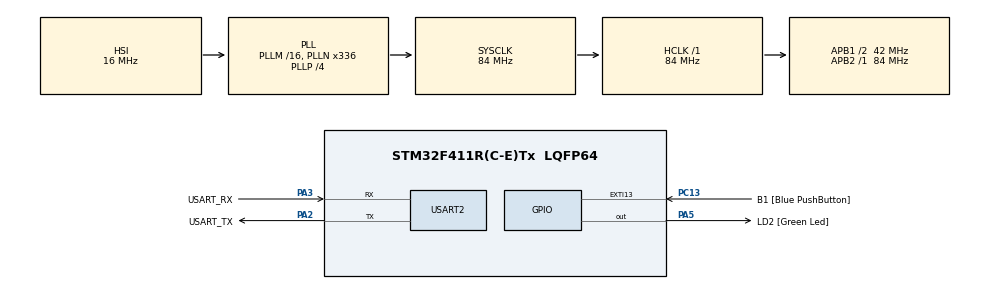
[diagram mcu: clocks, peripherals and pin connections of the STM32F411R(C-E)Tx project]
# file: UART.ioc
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Dma.Request0=USART2_RX
Dma.Request1=USART2_TX
Dma.USART2_RX.0.Direction=DMA_PERIPH_TO_MEMORY
Dma.USART2_RX.0.FIFOMode=DMA_FIFOMODE_DISABLE
Dma.USART2_RX.0.Instance=DMA1_Stream5
Dma.USART2_RX.0.MemDataAlignment=DMA_MDATAALIGN_BYTE
Dma.USART2_RX.0.MemInc=DMA_MINC_ENABLE
Dma.USART2_RX.0.Mode=DMA_CIRCULAR
Dma.USART2_RX.0.PeriphDataAlignment=DMA_PDATAALIGN_BYTE
Dma.USART2_RX.0.PeriphInc=DMA_PINC_DISABLE
Dma.USART2_RX.0.Priority=DMA_PRIORITY_LOW
Dma.USART2_TX.1.Direction=DMA_MEMORY_TO_PERIPH
Dma.USART2_TX.1.FIFOMode=DMA_FIFOMODE_DISABLE
Dma.USART2_TX.1.Instance=DMA1_Stream6
Dma.USART2_TX.1.MemDataAlignment=DMA_MDATAALIGN_BYTE
Dma.USART2_TX.1.MemInc=DMA_MINC_ENABLE
Dma.USART2_TX.1.Mode=DMA_NORMAL
Dma.USART2_TX.1.PeriphDataAlignment=DMA_PDATAALIGN_BYTE
Dma.USART2_TX.1.PeriphInc=DMA_PINC_DISABLE
Dma.USART2_TX.1.Priority=DMA_PRIORITY_LOW
Mcu.Family=STM32F4
Mcu.Name=STM32F411R(C-E)Tx
Mcu.Package=LQFP64
NVIC.DMA1_Stream5_IRQn=true\:0\:0\:false\:false\:true\:false\:true\:true
NVIC.DMA1_Stream6_IRQn=true\:0\:0\:false\:false\:true\:false\:true\:true
NVIC.PriorityGroup=NVIC_PRIORITYGROUP_0
NVIC.USART2_IRQn=true\:0\:0\:false\:false\:true\:true\:true\:true
PA13.GPIO_Label=TMS
PA13.Mode=Serial_Wire
PA13.Signal=SYS_JTMS-SWDIO
PA14.GPIO_Label=TCK
PA14.Mode=Serial_Wire
PA14.Signal=SYS_JTCK-SWCLK
PA2.GPIO_Label=USART_TX
PA2.Mode=Asynchronous
PA2.Signal=USART2_TX
PA3.GPIO_Label=USART_RX
PA3.Mode=Asynchronous
PA3.Signal=USART2_RX
PA5.GPIO_Label=LD2 [Green Led]
PA5.Signal=GPIO_Output
PB3.GPIO_Label=SWO
PB3.Signal=SYS_JTDO-SWO
PC13-ANTI_TAMP.GPIO_Label=B1 [Blue PushButton]
PC13-ANTI_TAMP.GPIO_ModeDefaultEXTI=GPIO_MODE_IT_FALLING
PC13-ANTI_TAMP.Signal=GPXTI13
PC14-OSC32_IN.Mode=LSE-External-Oscillator
PC14-OSC32_IN.Signal=RCC_OSC32_IN
PC15-OSC32_OUT.Mode=LSE-External-Oscillator
PC15-OSC32_OUT.Signal=RCC_OSC32_OUT
PH0\ -\ OSC_IN.Mode=HSE-External-Clock-Source
PH0\ -\ OSC_IN.Signal=RCC_OSC_IN
PH1\ -\ OSC_OUT.Mode=HSE-External-Clock-Source
PH1\ -\ OSC_OUT.Signal=RCC_OSC_OUT
ProjectManager.HeapSize=0x200
ProjectManager.StackSize=0x400
ProjectManager.TargetToolchain=STM32CubeIDE
RCC.48MHZClocksFreq_Value=84000000
RCC.AHBFreq_Value=84000000
RCC.APB1CLKDivider=RCC_HCLK_DIV2
RCC.APB1Freq_Value=42000000
RCC.APB1TimFreq_Value=84000000
RCC.APB2Freq_Value=84000000
RCC.APB2TimFreq_Value=84000000
RCC.CortexFreq_Value=84000000
RCC.FLatency-AdvancedSettings=FLASH_LATENCY_2
RCC.HCLKFreq_Value=84000000
RCC.HSE_VALUE=8000000
RCC.HSI_VALUE=16000000
RCC.PLLN=336
RCC.PLLP=RCC_PLLP_DIV4
RCC.SYSCLKFreq_VALUE=84000000
RCC.SYSCLKSource=RCC_SYSCLKSOURCE_PLLCLK
RCC.VCOOutputFreq_Value=336000000
USART2.VirtualMode=VM_ASYNC
board=NUCLEO-F411RE

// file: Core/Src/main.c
/* USER CODE BEGIN Header */
/**
  ******************************************************************************
  * @file           : main.c
  * @brief          : Main program body
  ******************************************************************************
  * @attention
  *
  * Copyright (c) 2023 STMicroelectronics.
  * All rights reserved.
  *
  * This software is licensed under terms that can be found in the LICENSE file
  * in the root directory of this software component.
  * If no LICENSE file comes with this software, it is provided AS-IS.
  *
  ******************************************************************************
  */
/* USER CODE END Header */
#include "main.h"

/* USER CODE BEGIN Includes */
#include "stdio.h"
#include "string.h"
/* USER CODE END Includes */

UART_HandleTypeDef huart2;
DMA_HandleTypeDef hdma_usart2_rx;
DMA_HandleTypeDef hdma_usart2_tx;

/* USER CODE BEGIN PV */
uint8_t RxBuffer[20];
uint8_t TxBuffer[40];
/* USER CODE END PV */

void SystemClock_Config(void);
static void MX_GPIO_Init(void);
static void MX_DMA_Init(void);
static void MX_USART2_UART_Init(void);
/* USER CODE BEGIN PFP */
//void UARTPollingMethod();
void DummyTask();
//void UARTInterruptConfig();
void UARTDMAConfig();
/* USER CODE END PFP */

int main(void)
{

  /* MCU Configuration--------------------------------------------------------*/

  /* Reset of all peripherals, Initializes the Flash interface and the Systick. */
  HAL_Init();

  /* Configure the system clock */
  SystemClock_Config();

  /* Initialize all configured peripherals */
  MX_GPIO_Init();
  MX_DMA_Init();
  MX_USART2_UART_Init();
  /* USER CODE BEGIN 2 */
uint8_t text[] = "HELLO FIBO";
HAL_UART_Transmit(&huart2, text,11, 10); //polling
UARTDMAConfig();
//UARTInterruptConfig();
  /* USER CODE END 2 */

  /* Infinite loop */
  /* USER CODE BEGIN WHILE */
  while (1)
  {
//	  UARTPollingMethod();
	  DummyTask();
    /* USER CODE END WHILE */

  }
}

void SystemClock_Config(void)
{
  RCC_OscInitTypeDef RCC_OscInitStruct = {0};
  RCC_ClkInitTypeDef RCC_ClkInitStruct = {0};

  /** Configure the main internal regulator output voltage
  */
  __HAL_RCC_PWR_CLK_ENABLE();
  __HAL_PWR_VOLTAGESCALING_CONFIG(PWR_REGULATOR_VOLTAGE_SCALE1);

  /** Initializes the RCC Oscillators according to the specified parameters
  * in the RCC_OscInitTypeDef structure.
  */
  RCC_OscInitStruct.OscillatorType = RCC_OSCILLATORTYPE_HSI;
  RCC_OscInitStruct.HSIState = RCC_HSI_ON;
  RCC_OscInitStruct.HSICalibrationValue = RCC_HSICALIBRATION_DEFAULT;
  RCC_OscInitStruct.PLL.PLLState = RCC_PLL_ON;
  RCC_OscInitStruct.PLL.PLLSource = RCC_PLLSOURCE_HSI;
  RCC_OscInitStruct.PLL.PLLM = 16;
  RCC_OscInitStruct.PLL.PLLN = 336;
  RCC_OscInitStruct.PLL.PLLP = RCC_PLLP_DIV4;
  RCC_OscInitStruct.PLL.PLLQ = 4;
  if (HAL_RCC_OscConfig(&RCC_OscInitStruct) != HAL_OK)
  {
    Error_Handler();
  }

  /** Initializes the CPU, AHB and APB buses clocks
  */
  RCC_ClkInitStruct.ClockType = RCC_CLOCKTYPE_HCLK|RCC_CLOCKTYPE_SYSCLK
                              |RCC_CLOCKTYPE_PCLK1|RCC_CLOCKTYPE_PCLK2;
  RCC_ClkInitStruct.SYSCLKSource = RCC_SYSCLKSOURCE_PLLCLK;
  RCC_ClkInitStruct.AHBCLKDivider = RCC_SYSCLK_DIV1;
  RCC_ClkInitStruct.APB1CLKDivider = RCC_HCLK_DIV2;
  RCC_ClkInitStruct.APB2CLKDivider = RCC_HCLK_DIV1;

  if (HAL_RCC_ClockConfig(&RCC_ClkInitStruct, FLASH_LATENCY_2) != HAL_OK)
  {
    Error_Handler();
  }
}

static void MX_USART2_UART_Init(void)
{

  huart2.Instance = USART2;
  huart2.Init.BaudRate = 115200;
  huart2.Init.WordLength = UART_WORDLENGTH_8B;
  huart2.Init.StopBits = UART_STOPBITS_1;
  huart2.Init.Parity = UART_PARITY_NONE;
  huart2.Init.Mode = UART_MODE_TX_RX;
  huart2.Init.HwFlowCtl = UART_HWCONTROL_NONE;
  huart2.Init.OverSampling = UART_OVERSAMPLING_16;
  if (HAL_UART_Init(&huart2) != HAL_OK)
  {
    Error_Handler();
  }

}

static void MX_DMA_Init(void)
{

  /* DMA controller clock enable */
  __HAL_RCC_DMA1_CLK_ENABLE();

  /* DMA interrupt init */
  /* DMA1_Stream5_IRQn interrupt configuration */
  HAL_NVIC_SetPriority(DMA1_Stream5_IRQn, 0, 0);
  HAL_NVIC_EnableIRQ(DMA1_Stream5_IRQn);
  /* DMA1_Stream6_IRQn interrupt configuration */
  HAL_NVIC_SetPriority(DMA1_Stream6_IRQn, 0, 0);
  HAL_NVIC_EnableIRQ(DMA1_Stream6_IRQn);

}

static void MX_GPIO_Init(void)
{
  GPIO_InitTypeDef GPIO_InitStruct = {0};

  /* GPIO Ports Clock Enable */
  __HAL_RCC_GPIOC_CLK_ENABLE();
  __HAL_RCC_GPIOH_CLK_ENABLE();
  __HAL_RCC_GPIOA_CLK_ENABLE();
  __HAL_RCC_GPIOB_CLK_ENABLE();

  /*Configure GPIO pin Output Level */
  HAL_GPIO_WritePin(LD2_GPIO_Port, LD2_Pin, GPIO_PIN_RESET);

  /*Configure GPIO pin : B1_Pin */
  GPIO_InitStruct.Pin = B1_Pin;
  GPIO_InitStruct.Mode = GPIO_MODE_IT_FALLING;
  GPIO_InitStruct.Pull = GPIO_NOPULL;
  HAL_GPIO_Init(B1_GPIO_Port, &GPIO_InitStruct);

  /*Configure GPIO pin : LD2_Pin */
  GPIO_InitStruct.Pin = LD2_Pin;
  GPIO_InitStruct.Mode = GPIO_MODE_OUTPUT_PP;
  GPIO_InitStruct.Pull = GPIO_NOPULL;
  GPIO_InitStruct.Speed = GPIO_SPEED_FREQ_LOW;
  HAL_GPIO_Init(LD2_GPIO_Port, &GPIO_InitStruct);

}

/* USER CODE BEGIN 4 */
void UARTPollingMethod()
{
	//read UART 10 char with in 10s
	HAL_StatusTypeDef HAL_status = HAL_UART_Receive(&huart2,RxBuffer,10,1000);

	//if complete read 10 char
	if(HAL_status == HAL_OK){
		//(for string only) Add string stop symbol \0 to end string
		RxBuffer[10] = '\0';

		//return received char
		sprintf((char*)TxBuffer,"Received : %s\r\n",RxBuffer);
		HAL_UART_Transmit(&huart2, TxBuffer, strlen((char*)TxBuffer), 10);
	}
	//Timeout : print only received char
	else if(HAL_status == HAL_TIMEOUT){
		//(for string only) Add string stop symbol \0 to end string
		uint32_t lastCharPos = huart2.RxXferSize - huart2.RxXferCount;
		RxBuffer[lastCharPos] = '\0';

		//return received char
		sprintf((char*)TxBuffer,"Received : %s\r\n",RxBuffer);
		HAL_UART_Transmit(&huart2, TxBuffer, strlen((char*)TxBuffer), 10);

	}
}

void DummyTask()
{
	static uint32_t timestamp = 0;
	if(HAL_GetTick() >= timestamp){
		timestamp = HAL_GetTick() + 100;
		HAL_GPIO_TogglePin(LD2_GPIO_Port,LD2_Pin);
	}
}

void UARTInterruptConfig(){
	//start UART in interrupt Mode
	HAL_UART_Receive_IT(&huart2,RxBuffer,10);
}

void HAL_UART_RxCpltCallback(UART_HandleTypeDef *huart){
	if(huart == &huart2){
		//(for string only) Add string stop symbol \0 to end string
		RxBuffer[10] = '\0';

		//return received char
		sprintf((char*)TxBuffer,"Received : %s\r\n",RxBuffer);
		HAL_UART_Transmit_DMA(&huart2, TxBuffer, strlen((char*)TxBuffer));

		//recall (for interrupt)
//		HAL_UART_Receive_IT(&huart2, RxBuffer, 10);
	}
}

void UARTDMAConfig(){
	//start UART in DMA Mode
	HAL_UART_Receive_DMA(&huart2, RxBuffer, 10);
}
/* USER CODE END 4 */

void Error_Handler(void)
{
  __disable_irq();
  while (1)
  {
  }
}
